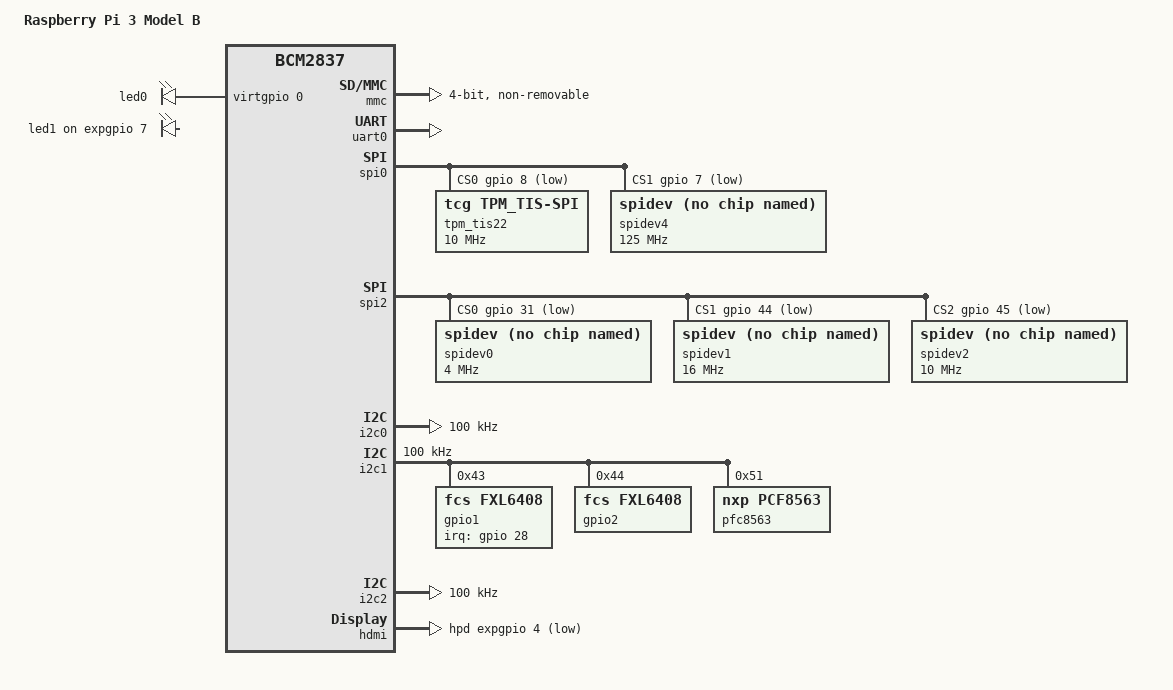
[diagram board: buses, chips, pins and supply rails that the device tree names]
/dts-v1/;

#include "bcm2710.dtsi"
#include "bcm283x-rpi-smsc9514.dtsi"
#include "bcm283x-rpi-csi1-2lane.dtsi"

/ {
	compatible = "raspberrypi,3-model-b", "brcm,bcm2837";
	model = "Raspberry Pi 3 Model B";

	chosen {
		bootargs = "8250.nr_uarts=1";
	};

	aliases {
		serial0 = &uart1;
		serial1 = &uart0;
	};
};

&gpio {
	spi0_pins: spi0_pins {
		brcm,pins = <9 10 11>;
		brcm,function = <4>; /* alt0 */
	};

	spi0_cs_pins: spi0_cs_pins {
		brcm,pins = <8 7>;
		brcm,function = <1>; /* output */
	};

	i2c0_pins: i2c0 {
		brcm,pins = <0 1>;
		brcm,function = <4>;
	};

	i2c1_pins: i2c1 {
		brcm,pins = <2 3>;
		brcm,function = <4>;
	};
        i2c3_pins: i2c3 {
                   brcm,pins = <46 47>;
        };

	i2s_pins: i2s {
		brcm,pins = <18 19 20 21>;
		brcm,function = <4>; /* alt0 */
	};

	sdio_pins: sdio_pins {
		brcm,pins =     <34 35 36 37 38 39>;
		brcm,function = <7>; // alt3 = SD1
		brcm,pull =     <0 2 2 2 2 2>;
	};

	bt_pins: bt_pins {
		brcm,pins = <43>;
		brcm,function = <4>; /* alt0:GPCLK2 */
		brcm,pull = <0>;
	};

	uart0_pins: uart0_pins {
		brcm,pins = <32 33>;
		brcm,function = <7>; /* alt3=UART0 */
		brcm,pull = <0 2>;
	};

	uart1_pins: uart1_pins {
		brcm,pins;
		brcm,function;
		brcm,pull;
	};

//	audio_pins: audio_pins {
//		brcm,pins = <40 41>;
//		brcm,function = <4>;
//	};
};

&mmc {
	pinctrl-names = "default";
	pinctrl-0 = <&sdio_pins>;
	non-removable;
	bus-width = <4>;
	status = "okay";
	brcm,overclock-50 = <0>;
};

&soc {
	virtgpio: virtgpio {
		compatible = "brcm,bcm2835-virtgpio";
		gpio-controller;
		#gpio-cells = <2>;
		firmware = <&firmware>;
		status = "okay";
	};

	expgpio: expgpio {
		compatible = "brcm,bcm2835-expgpio";
		gpio-controller;
		#gpio-cells = <2>;
		firmware = <&firmware>;
		status = "okay";
	};
};

&uart0 {
	pinctrl-names = "default";
	pinctrl-0 = <&uart0_pins &bt_pins>;
	status = "okay";
};

//&uart1 {
//	pinctrl-names = "default";
//	pinctrl-0 = <&uart1_pins>;
//	status = "okay";
//};

&spi0 {
	pinctrl-names = "default";
	pinctrl-0 = <&spi0_pins &spi0_cs_pins>;
	cs-gpios = <&gpio 8 1>, <&gpio 7 1>;
	tpm_tis22: spidev@0 {
		compatible = "tcg,tpm_tis-spi";
		reg = <0>;
		spi-max-frequency = <10000000>;
/* Connecting TPM to GPIO30 currently causes interrupt storm - lock-up with sc16
is7xx */
/* (shared interrupt).  TPM doesn't need interrupt, so keep it disconnected and 
disabled. */
//		interrupt-parent = <&gpio>;
//		interrupts = <30 8>; /* IRQ_TYPE_LEVEL_LOW */
		status = "okay";
	};

	spidev4: spidev@1{
		compatible = "spidev";
		reg = <1>;	/* CE1 */
		#address-cells = <1>;
		#size-cells = <0>;
		spi-max-frequency = <125000000>;
	};
};


&spi2 {
	pinctrl-names = "default";
	//pinctrl-0 = <&spi2_gpio40>;
	cs-gpios = <&gpio 31 1>, <&gpio 44 1>, <&gpio 45 1>;
        status = "okay";
        
	spidev0: spidev@0{
		compatible = "spidev";
                reg = <0>;
		#address-cells = <1>;
		#size-cells = <0>;
                status = "okay";
                spi-max-frequency = <4000000>;
	};
        
	spidev1: spidev@1{
		compatible = "spidev";
		reg = <1>;	
		#address-cells = <1>;
		#size-cells = <0>;
		spi-max-frequency = <16000000>;
                status = "okay";
   	        };
	spidev2: spidev@2{
		compatible = "spidev";
		reg = <2>;
		#address-cells = <1>;
		#size-cells = <0>;
		spi-max-frequency = <10000000>;

	};
};


&i2c0 {
	pinctrl-names = "default";
        pinctrl-0 = <&i2c0_pins>;
	clock-frequency = <100000>;
};


&i2c1 {
	pinctrl-names = "default";
        status="okay";
	clock-frequency = <100000>;
        
        gpio1: gpio1 {
		gpio-controller;
		#gpio-cells = <2>;
		reg = <0x43>;
		compatible = "fcs,fxl6408";
                interrupt-controller;
	        interrupt-parent = <&gpio>;
                ngpios = <8>;
                gpio-base = <200>;
		interrupts = <28 0x2082>; 
	};
        
        gpio2: gpio2 {
		gpio-controller;
		#gpio-cells = <2>;
		reg = <0x44>;
		compatible = "fcs,fxl6408";
                gpio-base = <208>;
	};
        
        pfc8563: rtc@51 {
                 compatible = "nxp,pcf8563";
                 reg = <0x51>;
        };
};



&i2c2 {
	clock-frequency = <100000>;
};

&i2s {
	pinctrl-names = "default";
	pinctrl-0 = <&i2s_pins>;
};

&leds {
	act_led: act {
		label = "led0";
		linux,default-trigger = "mmc0";
		gpios = <&virtgpio 0 0>;
	};

	pwr_led: pwr {
		label = "led1";
		linux,default-trigger = "input";
		gpios = <&expgpio 7 0>;
	};
};

&hdmi {
	hpd-gpios = <&expgpio 4 GPIO_ACTIVE_LOW>;
};

//&audio {
//	pinctrl-names = "default";
//	pinctrl-0 = <&audio_pins>;
//};

/ {
	__overrides__ {
		act_led_gpio = <&act_led>,"gpios:4";
		act_led_activelow = <&act_led>,"gpios:8";
		act_led_trigger = <&act_led>,"linux,default-trigger";

		pwr_led_gpio = <&pwr_led>,"gpios:4";
		pwr_led_activelow = <&pwr_led>,"gpios:8";
		pwr_led_trigger = <&pwr_led>,"linux,default-trigger";
	};
};
